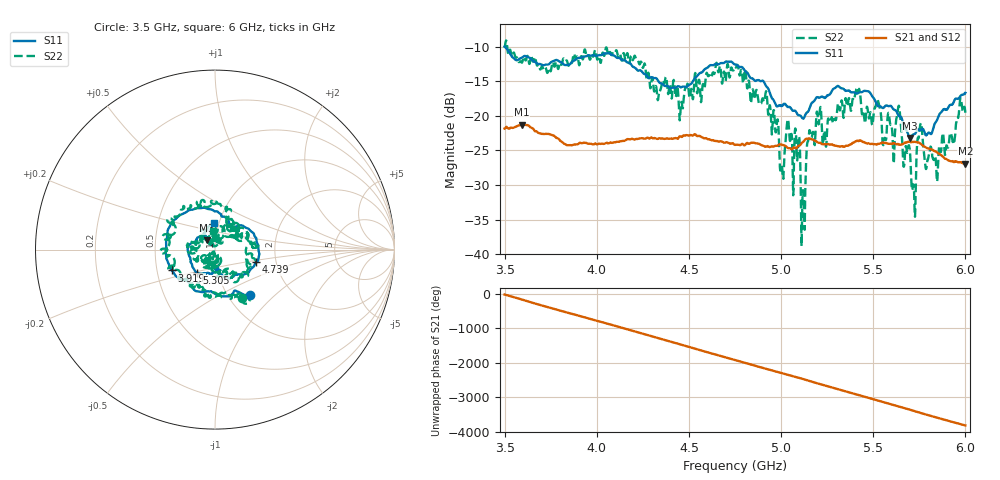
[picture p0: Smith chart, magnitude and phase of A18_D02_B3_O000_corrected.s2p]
! Created with skrf 1.9.0 (http://scikit-rf.org).
# Hz S RI R 50.0
!freq ReS11 ImS11 ReS21 ImS21 ReS12 ImS12 ReS22 ImS22
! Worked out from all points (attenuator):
!   1601 points, 3.5 GHz to 6 GHz, reference 50 ohm
!   highest |S21| = -21.24 dB at 3.592 GHz (marker M1); lowest = -26.9 dB at 6 GHz (marker M2)
!   lowest |S11| = -23.2 dB at 5.698 GHz (marker M3), VSWR 1.15, Z = 45.4 + j4.77 ohm
!   |S11| at or under -10 dB: 3.502 GHz to end of sweep
!   |S22| runs from -38.9 to -9.1 dB; largest |S21 - S12| = 0.00092
!   S11 on the Smith chart (normalised r, x): 3.5 GHz: 1.26, -0.71; 3.919 GHz: 0.60, -0.15; 4.739 GHz: 1.58, -0.24; 5.305 GHz: 0.79, -0.21; 6 GHz: 0.95, +0.28
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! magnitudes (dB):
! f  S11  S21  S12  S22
! 3.5 GHz  -9.9  -21.8  -21.8  -10.1
! 3.592 GHz  -11.6  -21.2  -21.3  -12.3
! 3.917 GHz  -11.5  -23.9  -23.9  -11.3
! 3.919 GHz  -11.5  -23.9  -23.9  -11.5
! 4.334 GHz  -15.0  -23.3  -23.2  -17.4
! 4.739 GHz  -12.3  -24.0  -24.0  -13.4
! 4.75 GHz  -12.5  -24.2  -24.1  -12.9
! 4.927 GHz  -15.9  -24.4  -24.4  -18.6
! 5.005 GHz  -18.5  -24.2  -24.2  -27.4
! 5.034 GHz  -18.7  -24.6  -24.5  -20.7
! 5.088 GHz  -19.7  -24.5  -24.5  -26.4
! 5.119 GHz  -20.4  -23.8  -23.7  -30.7
! 5.167 GHz  -18.1  -23.4  -23.3  -23.0
! 5.305 GHz  -15.7  -24.4  -24.3  -19.0
! 5.416 GHz  -16.7  -23.6  -23.6  -16.5
! 5.584 GHz  -18.6  -24.0  -24.0  -19.6
! 5.638 GHz  -19.9  -24.1  -24.1  -18.6
! 5.698 GHz  -23.2  -23.7  -23.7  -24.8
! 5.719 GHz  -22.7  -23.8  -23.7  -30.1
! 5.753 GHz  -22.1  -24.0  -23.9  -21.7
! 5.841 GHz  -20.8  -25.2  -25.1  -26.9
! 6 GHz  -16.6  -26.9  -26.8  -19.5
